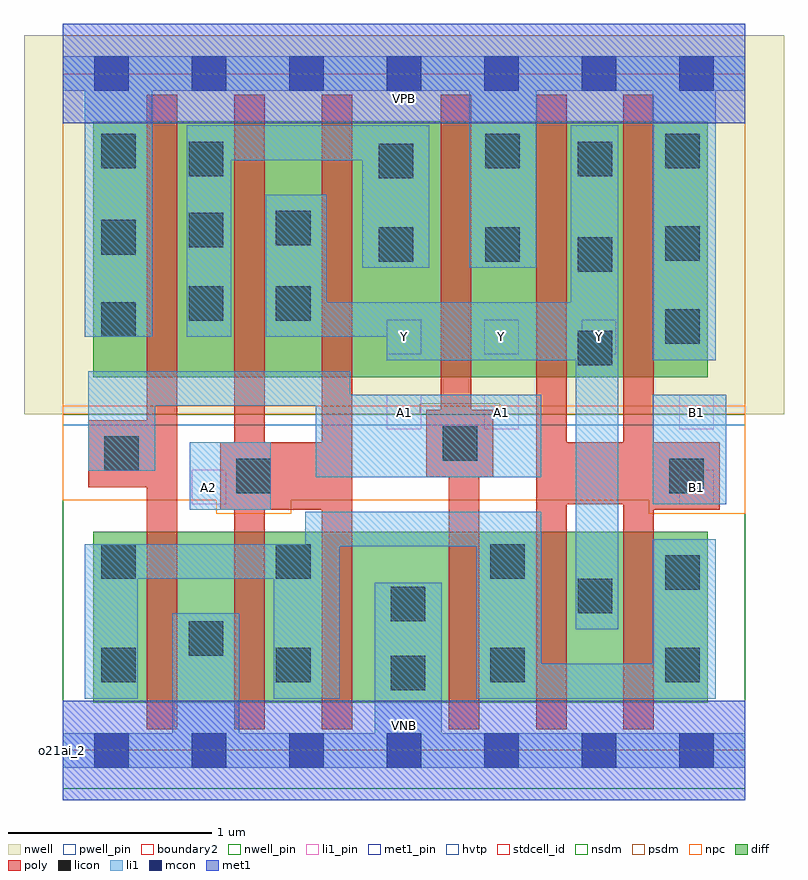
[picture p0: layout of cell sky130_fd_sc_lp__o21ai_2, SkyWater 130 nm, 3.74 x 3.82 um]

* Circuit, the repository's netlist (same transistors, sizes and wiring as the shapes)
* Copyright 2020 The SkyWater PDK Authors
*
* Licensed under the Apache License, Version 2.0 (the "License");
* you may not use this file except in compliance with the License.
* You may obtain a copy of the License at
*
*     https://www.apache.org/licenses/LICENSE-2.0
*
* Unless required by applicable law or agreed to in writing, software
* distributed under the License is distributed on an "AS IS" BASIS,
* WITHOUT WARRANTIES OR CONDITIONS OF ANY KIND, either express or implied.
* See the License for the specific language governing permissions and
* limitations under the License.
*
* SPDX-License-Identifier: Apache-2.0

.SUBCKT sky130_fd_sc_lp__o21ai_2 A1 A2 B1 VGND VNB VPB VPWR Y
*.PININFO A1:I A2:I B1:I VGND:I VNB:I VPB:I VPWR:I Y:O
MMPA0 VPWR A1 sndA1 VPB sky130_fd_pr__pfet_01v8_hvt m=2 w=1.26U l=0.15U mult=1
+ sa=0.265 sb=0.265 sd=0.28 area=0.063 perim=1.14
MMPA1 sndA1 A2 Y VPB sky130_fd_pr__pfet_01v8_hvt m=2 w=1.26U l=0.15U mult=1 sa=0.265
+ sb=0.265 sd=0.28 area=0.063 perim=1.14
MMPB0 VPWR B1 Y VPB sky130_fd_pr__pfet_01v8_hvt m=2 w=1.26U l=0.15U mult=1 sa=0.265
+ sb=0.265 sd=0.28 area=0.063 perim=1.14
MMNA0 pndA A1 VGND VNB sky130_fd_pr__nfet_01v8 m=2 w=0.84U l=0.15U mult=1 sa=0.265
+ sb=0.265 sd=0.28 area=0.063 perim=1.14
MMNA1 pndA A2 VGND VNB sky130_fd_pr__nfet_01v8 m=2 w=0.84U l=0.15U mult=1 sa=0.265
+ sb=0.265 sd=0.28 area=0.063 perim=1.14
MMNB0 Y B1 pndA VNB sky130_fd_pr__nfet_01v8 m=2 w=0.84U l=0.15U mult=1 sa=0.265
+ sb=0.265 sd=0.28 area=0.063 perim=1.14
.ENDS sky130_fd_sc_lp__o21ai_2

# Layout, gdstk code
import gdstk
lib = gdstk.Library(unit=1e-6, precision=1e-09)
def R(c, l, rs):  # rectangles x0, y0, x1, y1
    for r in rs: c.add(gdstk.rectangle(r[:2], r[2:], *l))
def A(c, l, x, y, w, h, nx, ny, dx, dy):  # array of equal rectangles
    R(c, l, [(x+i*dx, y+j*dy, x+i*dx+w, y+j*dy+h) for i in range(nx) for j in range(ny)])
def P(c, l, *ps):  # polygons
    for p in ps: c.add(gdstk.Polygon(p, *l))
nwell_pin = (64, 16)
nwell = (64, 20)
diff = (65, 20)
poly = (66, 20)
licon = (66, 44)
li1_pin = (67, 16)
li1 = (67, 20)
mcon = (67, 44)
met1_pin = (68, 16)
met1 = (68, 20)
hvtp = (78, 44)
stdcell_id = (81, 4)
nsdm = (93, 44)
psdm = (94, 20)
npc = (95, 20)
pwell_pin = (122, 16)
boundary2 = (236, 0)

sky130_fd_sc_lp__o21ai_2 = lib.new_cell('sky130_fd_sc_lp__o21ai_2')
R(sky130_fd_sc_lp__o21ai_2, nwell_pin, [(0,3.085,3.36,3.33)])
R(sky130_fd_sc_lp__o21ai_2, nwell, [(-0.19,1.655,3.55,3.52)])
R(sky130_fd_sc_lp__o21ai_2, diff, [(0.15,0.235,3.175,1.075), (0.15,1.835,3.175,3.095)])
P(sky130_fd_sc_lp__o21ai_2, poly, [(0.565,3.225),(0.415,3.225),(0.415,1.625),(0.125,1.625),(0.125,1.295),(0.415,1.295),(0.415,0.105),(0.565,0.105)],
  [(1.425,3.225),(1.275,3.225),(1.275,1.515),(0.995,1.515),(0.995,3.225),(0.845,3.225),(0.845,1.515),(0.775,1.515),(0.775,1.185),(0.845,1.185),(0.845,0.105),(0.995,0.105),(0.995,1.185),(1.275,1.185),(1.275,0.105),(1.425,0.105)],
  [(2.12,1.675),(2.01,1.675),(2.01,3.225),(1.86,3.225),(1.86,1.675),(1.79,1.675),(1.79,1.345),(1.9,1.345),(1.9,0.105),(2.05,0.105),(2.05,1.345),(2.12,1.345)],
  [(3.235,1.515),(2.91,1.515),(2.91,3.225),(2.76,3.225),(2.76,1.515),(2.48,1.515),(2.48,3.225),(2.33,3.225),(2.33,0.105),(2.48,0.105),(2.48,1.21),(2.76,1.21),(2.76,0.105),(2.91,0.105),(2.91,1.185),(3.235,1.185)])
R(sky130_fd_sc_lp__o21ai_2, licon, [(1.615,0.295,1.785,0.465), (0.19,0.335,0.36,0.505), (1.05,0.335,1.22,0.505), (2.105,0.335,2.275,0.505), (2.965,0.335,3.135,0.505), (0.62,0.465,0.79,0.635), (1.615,0.635,1.785,0.805), (2.535,0.675,2.705,0.845), (2.965,0.79,3.135,0.96), (0.19,0.845,0.36,1.015), (1.05,0.845,1.22,1.015), (2.105,0.845,2.275,1.015), (0.855,1.265,1.025,1.435), (2.985,1.265,3.155,1.435), (0.205,1.375,0.375,1.545), (1.87,1.425,2.04,1.595), (2.535,1.895,2.705,2.065), (2.965,2,3.135,2.17), (0.19,2.035,0.36,2.205), (0.62,2.115,0.79,2.285), (1.05,2.115,1.22,2.285), (2.535,2.355,2.705,2.525), (1.555,2.405,1.725,2.575), (2.08,2.405,2.25,2.575), (2.965,2.41,3.135,2.58), (0.19,2.44,0.36,2.61), (0.62,2.475,0.79,2.645), (1.05,2.485,1.22,2.655), (1.555,2.815,1.725,2.985), (0.62,2.825,0.79,2.995), (2.535,2.825,2.705,2.995), (0.19,2.865,0.36,3.035), (2.08,2.865,2.25,3.035), (2.965,2.865,3.135,3.035)])
A(sky130_fd_sc_lp__o21ai_2, li1_pin, 1.595, 1.95, 0.17, 0.17, 3, 1, 0.48, 0)
R(sky130_fd_sc_lp__o21ai_2, li1_pin, [(0.635,1.21,0.805,1.38), (3.035,1.21,3.205,1.38), (1.595,1.58,1.765,1.75), (2.075,1.58,2.245,1.75), (3.035,1.58,3.205,1.75)])
R(sky130_fd_sc_lp__o21ai_2, li1, [(0.625,1.185,1.025,1.515), (2.905,1.21,3.265,1.75)])
P(sky130_fd_sc_lp__o21ai_2, li1, [(2,2.375),(2,3.245),(0.44,3.245),(0.44,2.035),(0.11,2.035),(0.11,3.245),(0,3.245),(0,3.415),(3.36,3.415),(3.36,3.245),(3.215,3.245),(3.215,1.92),(2.905,1.92),(2.905,3.245),(2.33,3.245),(2.33,2.375)],
  [(1.535,0.085),(1.535,0.825),(1.865,0.825),(1.865,0.085),(3.36,0.085),(3.36,-0.085),(0,-0.085),(0,0.085),(0.54,0.085),(0.54,0.675),(0.87,0.675),(0.87,0.085)],
  [(2.5,2.205),(2.5,3.075),(2.735,3.075),(2.735,0.595),(2.525,0.595),(2.525,1.92),(1.595,1.92),(1.595,2.035),(1,2.035),(1,2.735),(1.3,2.735),(1.3,2.205)],
  [(0.125,1.865),(1.415,1.865),(1.415,1.75),(2.355,1.75),(2.355,1.345),(1.245,1.345),(1.245,1.695),(0.455,1.695),(0.455,1.375),(0.125,1.375)],
  [(1.475,2.905),(0.83,2.905),(0.83,2.035),(0.61,2.035),(0.61,3.075),(1.805,3.075),(1.805,2.375),(1.475,2.375)],
  [(2.355,0.425),(2.905,0.425),(2.905,1.04),(3.215,1.04),(3.215,0.255),(2.035,0.255),(2.035,1.005),(1.365,1.005),(1.365,0.255),(1.04,0.255),(1.04,0.845),(0.37,0.845),(0.37,0.255),(0.11,0.255),(0.11,1.015),(1.195,1.015),(1.195,1.175),(2.355,1.175)])
A(sky130_fd_sc_lp__o21ai_2, mcon, 0.155, -0.085, 0.17, 0.17, 7, 2, 0.48, 3.33)
R(sky130_fd_sc_lp__o21ai_2, met1_pin, [(0,0,3.36,0.245), (0,3.085,3.36,3.33)])
R(sky130_fd_sc_lp__o21ai_2, met1, [(0,-0.245,3.36,0.245), (0,3.085,3.36,3.575)])
R(sky130_fd_sc_lp__o21ai_2, hvtp, [(0,1.6,3.36,3.33)])
R(sky130_fd_sc_lp__o21ai_2, stdcell_id, [(0,0,3.36,3.33)])
R(sky130_fd_sc_lp__o21ai_2, nsdm, [(0,-0.19,3.36,1.655)])
P(sky130_fd_sc_lp__o21ai_2, psdm, [(3.36,3.52),(0,3.52),(0,1.655),(1.76,1.655),(1.76,1.705),(2.15,1.705),(2.15,1.655),(3.36,1.655)])
P(sky130_fd_sc_lp__o21ai_2, npc, [(3.36,1.695),(0,1.695),(0,1.23),(0.755,1.23),(0.755,1.165),(1.125,1.165),(1.125,1.23),(2.885,1.23),(2.885,1.165),(3.36,1.165)])
R(sky130_fd_sc_lp__o21ai_2, pwell_pin, [(0,0,3.36,0.245)])
R(sky130_fd_sc_lp__o21ai_2, boundary2, [(0,0,3.36,3.33)])
sky130_fd_sc_lp__o21ai_2.add(gdstk.Label('VNB', (1.68,0.123), layer=64, texttype=59))
sky130_fd_sc_lp__o21ai_2.add(gdstk.Label('VPB', (1.68,3.208), layer=64, texttype=5))
sky130_fd_sc_lp__o21ai_2.add(gdstk.Label('o21ai_2', (0,0), layer=83, texttype=44))
sky130_fd_sc_lp__o21ai_2.add(gdstk.Label('VPWR', (1.68,3.208), layer=68, texttype=5))
sky130_fd_sc_lp__o21ai_2.add(gdstk.Label('VGND', (1.68,0.123), layer=68, texttype=5))
sky130_fd_sc_lp__o21ai_2.add(gdstk.Label('Y', (1.68,2.035), layer=67, texttype=5))
sky130_fd_sc_lp__o21ai_2.add(gdstk.Label('Y', (2.16,2.035), layer=67, texttype=5))
sky130_fd_sc_lp__o21ai_2.add(gdstk.Label('Y', (2.64,2.035), layer=67, texttype=5))
sky130_fd_sc_lp__o21ai_2.add(gdstk.Label('A1', (1.68,1.665), layer=67, texttype=5))
sky130_fd_sc_lp__o21ai_2.add(gdstk.Label('A1', (2.16,1.665), layer=67, texttype=5))
sky130_fd_sc_lp__o21ai_2.add(gdstk.Label('A2', (0.72,1.295), layer=67, texttype=5))
sky130_fd_sc_lp__o21ai_2.add(gdstk.Label('B1', (3.12,1.295), layer=67, texttype=5))
sky130_fd_sc_lp__o21ai_2.add(gdstk.Label('B1', (3.12,1.665), layer=67, texttype=5))

lib.write_gds('sky130_fd_sc_lp__o21ai_2.gds')
